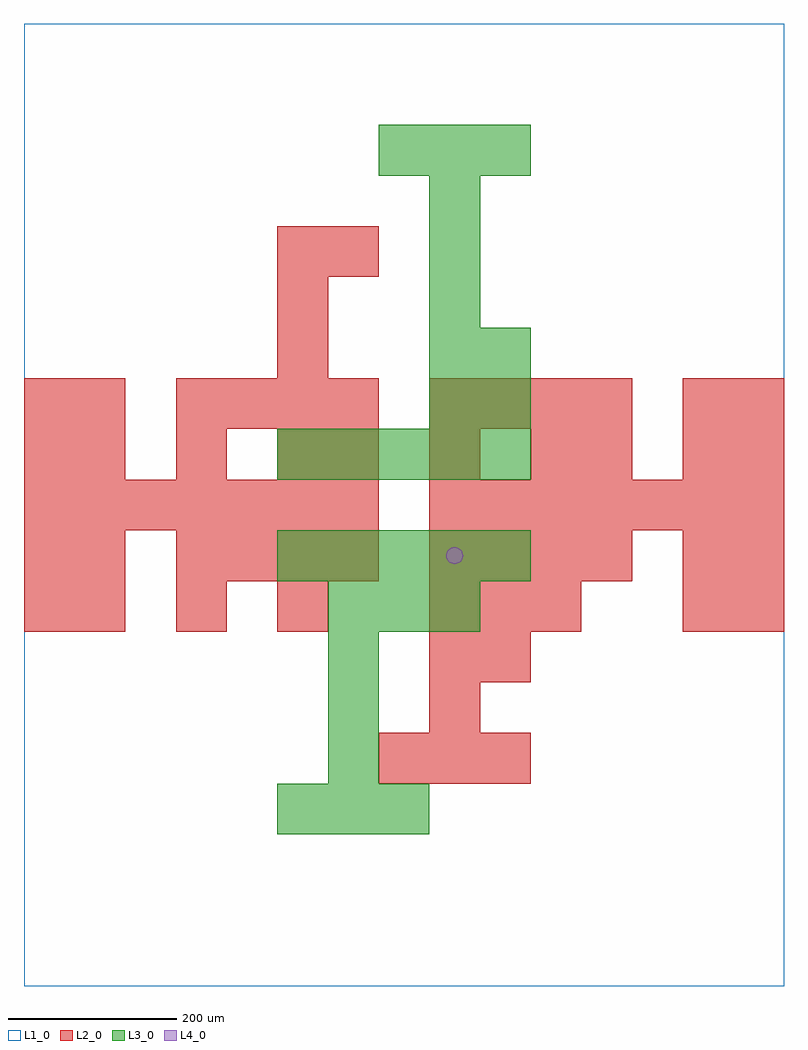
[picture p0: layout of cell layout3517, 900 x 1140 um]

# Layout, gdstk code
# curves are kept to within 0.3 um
import gdstk
lib = gdstk.Library(unit=1e-6, precision=1e-09)
def R(c, l, rs):  # rectangles x0, y0, x1, y1
    for r in rs: c.add(gdstk.rectangle(r[:2], r[2:], *l))
def A(c, l, x, y, w, h, nx, ny, dx, dy):  # array of equal rectangles
    R(c, l, [(x+i*dx, y+j*dy, x+i*dx+w, y+j*dy+h) for i in range(nx) for j in range(ny)])
def P(c, l, *ps):  # polygons
    for p in ps: c.add(gdstk.Polygon(p, *l))
L1_0 = (1, 0)
L2_0 = (2, 0)
L3_0 = (3, 0)
L4_0 = (4, 0)

layout3517 = lib.new_cell('layout3517')
R(layout3517, L1_0, [(0,0,900,1140)])
A(layout3517, L2_0, 420, 240, 60, 60, 3, 1, 60, 0)
A(layout3517, L2_0, 60, 420, 60, 60, 3, 2, 120, 180)
A(layout3517, L2_0, 480, 420, 60, 60, 3, 1, 60, 0)
A(layout3517, L2_0, 180, 480, 60, 60, 4, 2, 60, 180)
A(layout3517, L2_0, 480, 480, 60, 60, 4, 2, 60, 180)
A(layout3517, L2_0, 0, 540, 60, 60, 7, 1, 60, 0)
A(layout3517, L2_0, 480, 540, 60, 60, 7, 1, 60, 0)
A(layout3517, L2_0, 360, 600, 60, 60, 3, 1, 120, 0)
A(layout3517, L2_0, 300, 720, 60, 60, 1, 3, 0, 60)
R(layout3517, L2_0, [(480,300,540,360), (480,360,540,420), (540,360,600,420), (0,420,60,480), (780,420,840,480), (840,420,900,480), (0,480,60,540), (60,480,120,540), (780,480,840,540), (840,480,900,540), (0,600,60,660), (660,600,720,660), (780,600,840,660), (840,600,900,660), (0,660,60,720), (60,660,120,720), (780,660,840,720), (840,660,900,720), (360,840,420,900)])
A(layout3517, L3_0, 300, 180, 60, 60, 3, 1, 60, 0)
A(layout3517, L3_0, 360, 240, 60, 60, 1, 3, 0, 60)
A(layout3517, L3_0, 360, 420, 60, 60, 3, 1, 60, 0)
A(layout3517, L3_0, 300, 480, 60, 60, 5, 2, 60, 120)
A(layout3517, L3_0, 480, 660, 60, 60, 1, 5, 0, 60)
A(layout3517, L3_0, 420, 960, 60, 60, 3, 1, 60, 0)
R(layout3517, L3_0, [(540,660,600,720), (540,720,600,780)])
P(layout3517, L4_0, [(520,510),(519.239,513.827),(517.071,517.071),(513.827,519.239),(510,520),(506.173,519.239),(502.929,517.071),(500.761,513.827),(500,510),(500.761,506.173),(502.929,502.929),(506.173,500.761),(510,500),(513.827,500.761),(517.071,502.929),(519.239,506.173)])

lib.write_gds('layout3517.gds')
